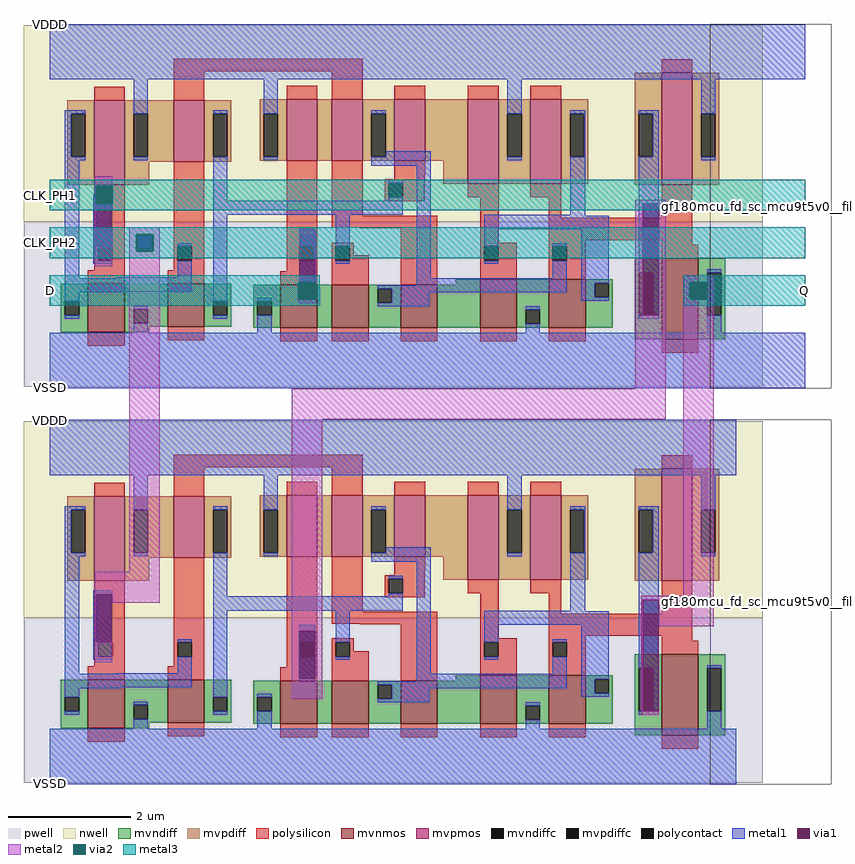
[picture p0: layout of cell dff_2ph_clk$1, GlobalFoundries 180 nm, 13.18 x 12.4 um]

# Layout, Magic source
magic
tech gf180mcuD
magscale 1 10
<< metal1 >>
rect -2240 -90 224 90
rect -2240 -1098 224 -918
<< via1 >>
rect -2089 -635 -2037 -479
rect -1427 -754 -1375 -598
rect -306 -860 -254 -496
rect -2089 -1927 -2037 -1771
rect -1427 -2046 -1375 -1890
rect -306 -2152 -254 -1788
<< metal2 >>
rect -2093 -440 -2037 -406
rect -2093 -496 -2091 -440
rect -330 -496 -230 -484
rect -2093 -635 -2089 -496
rect -2093 -701 -2037 -635
rect -1981 -596 -1881 -574
rect -1981 -652 -1959 -596
rect -1903 -652 -1881 -596
rect -1981 -1698 -1881 -652
rect -1427 -598 -1371 -585
rect -1375 -752 -1371 -598
rect -1373 -808 -1371 -752
rect -1427 -820 -1371 -808
rect -330 -860 -306 -496
rect -254 -860 -230 -496
rect -330 -1100 -230 -860
rect -2093 -1771 -1881 -1698
rect -2093 -1927 -2089 -1771
rect -2037 -1798 -1881 -1771
rect -1451 -1200 -230 -1100
rect -174 -752 -74 -730
rect -174 -808 -152 -752
rect -96 -808 -74 -752
rect -2093 -1993 -2037 -1927
rect -1451 -1890 -1351 -1200
rect -174 -1776 -74 -808
rect -1451 -2046 -1427 -1890
rect -1375 -2046 -1351 -1890
rect -1451 -2112 -1351 -2046
rect -310 -1788 -74 -1776
rect -310 -2152 -306 -1788
rect -254 -1876 -74 -1788
rect -310 -2164 -254 -2152
<< via2 >>
rect -2091 -479 -2035 -440
rect -2091 -496 -2089 -479
rect -2089 -496 -2037 -479
rect -2037 -496 -2035 -479
rect -1959 -652 -1903 -596
rect -1429 -754 -1427 -752
rect -1427 -754 -1375 -752
rect -1375 -754 -1373 -752
rect -1429 -808 -1373 -754
rect -152 -808 -96 -752
<< metal3 >>
rect -2241 -440 224 -418
rect -2241 -496 -2091 -440
rect -2035 -496 224 -440
rect -2241 -518 224 -496
rect -2241 -596 224 -574
rect -2241 -652 -1959 -596
rect -1903 -652 224 -596
rect -2241 -674 224 -652
rect -2241 -752 -1359 -730
rect -2241 -808 -1429 -752
rect -1373 -808 -1359 -752
rect -2241 -830 -1359 -808
rect -174 -752 224 -730
rect -174 -808 -152 -752
rect -96 -808 224 -752
rect -174 -830 224 -808
use gf180mcu_fd_sc_mcu9t5v0__filltie$1  gf180mcu_fd_sc_mcu9t5v0__filltie$1_0
transform 1 0 0 0 1 -2300
box -86 -90 310 1098
use gf180mcu_fd_sc_mcu9t5v0__filltie$1  gf180mcu_fd_sc_mcu9t5v0__filltie$1_1
transform 1 0 0 0 1 -1008
box -86 -90 310 1098
use gf180mcu_fd_sc_mcu9t5v0__latq_1  gf180mcu_fd_sc_mcu9t5v0__latq_1_0
transform 1 0 -2240 0 1 -2300
box -86 -90 2326 1098
use gf180mcu_fd_sc_mcu9t5v0__latq_1  gf180mcu_fd_sc_mcu9t5v0__latq_1_1
transform 1 0 -2240 0 1 -1008
box -86 -90 2326 1098
<< labels >>
flabel metal1 s -2237 -2389 -2237 -2389 2 FreeSans 73 0 0 0 VSSD
port 1 nsew
flabel metal1 s -2237 -1205 -2237 -1205 4 FreeSans 73 0 0 0 VDDD
port 2 nsew
flabel metal1 s -2238 -1096 -2238 -1096 2 FreeSans 73 0 0 0 VSSD
port 1 nsew
flabel metal1 s -2238 88 -2238 88 4 FreeSans 73 0 0 0 VDDD
port 2 nsew
flabel metal3 s 221 -780 221 -780 8 FreeSans 89 0 0 0 Q
port 3 nsew
flabel metal3 s -2239 -468 -2239 -468 2 FreeSans 89 0 0 0 CLK_PH1
port 4 nsew
flabel metal3 s -2239 -624 -2239 -624 2 FreeSans 89 0 0 0 CLK_PH2
port 5 nsew
flabel metal3 s -2239 -780 -2239 -780 2 FreeSans 89 0 0 0 D
port 6 nsew
<< properties >>
string path -11.205 -2.340 1.120 -2.340 
<< end >>

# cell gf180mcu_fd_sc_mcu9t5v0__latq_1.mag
magic
tech gf180mcuD
magscale 1 10
<< nwell >>
rect -86 453 2326 1094
<< pwell >>
rect -86 -86 2326 453
<< mvnmos >>
rect 124 92 244 250
rect 384 110 504 250
rect 752 107 872 247
rect 920 107 1040 247
rect 1144 107 1264 247
rect 1404 107 1524 265
rect 1628 107 1748 265
rect 1996 69 2116 333
<< mvpmos >>
rect 144 573 244 849
rect 404 649 504 849
rect 772 652 872 852
rect 920 652 1020 852
rect 1124 652 1224 852
rect 1364 576 1464 852
rect 1568 576 1668 852
rect 1996 573 2096 939
<< mvndiff >>
rect 36 193 124 250
rect 36 147 49 193
rect 95 147 124 193
rect 36 92 124 147
rect 244 168 384 250
rect 244 122 273 168
rect 319 122 384 168
rect 244 110 384 122
rect 504 193 592 250
rect 1908 287 1996 333
rect 1324 247 1404 265
rect 504 147 533 193
rect 579 147 592 193
rect 504 110 592 147
rect 664 193 752 247
rect 664 147 677 193
rect 723 147 752 193
rect 244 92 324 110
rect 664 107 752 147
rect 872 107 920 247
rect 1040 234 1144 247
rect 1040 188 1069 234
rect 1115 188 1144 234
rect 1040 107 1144 188
rect 1264 107 1404 247
rect 1524 166 1628 265
rect 1524 120 1553 166
rect 1599 120 1628 166
rect 1524 107 1628 120
rect 1748 252 1836 265
rect 1748 206 1777 252
rect 1823 206 1836 252
rect 1748 107 1836 206
rect 1908 147 1921 287
rect 1967 147 1996 287
rect 1908 69 1996 147
rect 2116 287 2204 333
rect 2116 147 2145 287
rect 2191 147 2204 287
rect 2116 69 2204 147
<< mvpdiff >>
rect 56 805 144 849
rect 56 665 69 805
rect 115 665 144 805
rect 56 573 144 665
rect 244 805 404 849
rect 244 665 273 805
rect 319 665 404 805
rect 244 649 404 665
rect 504 805 592 849
rect 504 665 533 805
rect 579 665 592 805
rect 504 649 592 665
rect 684 805 772 852
rect 684 665 697 805
rect 743 665 772 805
rect 684 652 772 665
rect 872 652 920 852
rect 1020 805 1124 852
rect 1020 665 1049 805
rect 1095 665 1124 805
rect 1020 652 1124 665
rect 1224 652 1364 852
rect 244 573 324 649
rect 1284 576 1364 652
rect 1464 805 1568 852
rect 1464 665 1493 805
rect 1539 665 1568 805
rect 1464 576 1568 665
rect 1668 805 1756 852
rect 1668 665 1697 805
rect 1743 665 1756 805
rect 1668 576 1756 665
rect 1908 805 1996 939
rect 1908 665 1921 805
rect 1967 665 1996 805
rect 1908 573 1996 665
rect 2096 805 2184 939
rect 2096 665 2125 805
rect 2171 665 2184 805
rect 2096 573 2184 665
<< mvndiffc >>
rect 49 147 95 193
rect 273 122 319 168
rect 533 147 579 193
rect 677 147 723 193
rect 1069 188 1115 234
rect 1553 120 1599 166
rect 1777 206 1823 252
rect 1921 147 1967 287
rect 2145 147 2191 287
<< mvpdiffc >>
rect 69 665 115 805
rect 273 665 319 805
rect 533 665 579 805
rect 697 665 743 805
rect 1049 665 1095 805
rect 1493 665 1539 805
rect 1697 665 1743 805
rect 1921 665 1967 805
rect 2125 665 2171 805
<< polysilicon >>
rect 404 944 1020 984
rect 144 849 244 893
rect 404 849 504 944
rect 772 852 872 896
rect 920 852 1020 944
rect 1996 939 2096 983
rect 1124 852 1224 896
rect 1364 852 1464 896
rect 1568 852 1668 896
rect 144 372 244 573
rect 144 326 157 372
rect 203 326 244 372
rect 144 294 244 326
rect 404 372 504 649
rect 404 326 417 372
rect 463 326 504 372
rect 404 294 504 326
rect 124 250 244 294
rect 384 250 504 294
rect 772 372 872 652
rect 920 472 1020 652
rect 1124 608 1224 652
rect 1124 592 1223 608
rect 1092 579 1223 592
rect 1092 533 1105 579
rect 1151 533 1223 579
rect 1092 520 1223 533
rect 1364 532 1464 576
rect 1568 532 1668 576
rect 920 433 1264 472
rect 1011 432 1264 433
rect 772 326 813 372
rect 859 326 872 372
rect 772 291 872 326
rect 752 247 872 291
rect 920 372 992 385
rect 920 326 933 372
rect 979 343 992 372
rect 979 326 1040 343
rect 920 247 1040 326
rect 1144 247 1264 432
rect 1404 385 1464 532
rect 1628 465 1668 532
rect 1996 465 2096 573
rect 1628 393 2096 465
rect 1404 372 1524 385
rect 1404 326 1417 372
rect 1463 326 1524 372
rect 1404 265 1524 326
rect 1628 372 1748 393
rect 1628 326 1641 372
rect 1687 326 1748 372
rect 1996 377 2096 393
rect 1996 333 2116 377
rect 1628 265 1748 326
rect 124 48 244 92
rect 384 66 504 110
rect 752 63 872 107
rect 920 63 1040 107
rect 1144 63 1264 107
rect 1404 63 1524 107
rect 1628 63 1748 107
rect 1996 25 2116 69
<< polycontact >>
rect 157 326 203 372
rect 417 326 463 372
rect 1105 533 1151 579
rect 813 326 859 372
rect 933 326 979 372
rect 1417 326 1463 372
rect 1641 326 1687 372
<< metal1 >>
rect 0 918 2240 1098
rect 49 805 115 816
rect 49 665 69 805
rect 49 654 115 665
rect 273 805 319 918
rect 273 654 319 665
rect 533 805 579 816
rect 49 269 95 654
rect 142 372 203 542
rect 533 522 579 665
rect 697 805 743 918
rect 697 654 743 665
rect 1049 805 1095 816
rect 1493 805 1539 918
rect 1095 665 1243 682
rect 1049 636 1243 665
rect 1493 654 1539 665
rect 1697 805 1747 816
rect 1743 665 1747 805
rect 1105 579 1151 590
rect 1105 522 1151 533
rect 533 476 1151 522
rect 142 326 157 372
rect 142 315 203 326
rect 417 372 463 383
rect 417 271 463 326
rect 217 269 463 271
rect 49 225 463 269
rect 49 223 231 225
rect 49 193 95 223
rect 533 193 579 476
rect 813 372 866 430
rect 859 326 866 372
rect 813 242 866 326
rect 933 372 979 476
rect 933 315 979 326
rect 1197 269 1243 636
rect 1697 475 1747 665
rect 1417 473 1747 475
rect 1921 805 1986 816
rect 1967 665 1986 805
rect 1417 429 1823 473
rect 1417 372 1463 429
rect 1417 315 1463 326
rect 1641 372 1687 383
rect 1641 269 1687 326
rect 1197 245 1687 269
rect 1069 234 1687 245
rect 49 136 95 147
rect 273 168 319 179
rect 533 136 579 147
rect 677 193 723 204
rect 1115 223 1687 234
rect 1733 252 1823 429
rect 1115 188 1238 223
rect 1733 206 1777 252
rect 1733 195 1823 206
rect 1921 287 1986 665
rect 2125 805 2171 918
rect 2125 654 2171 665
rect 1069 177 1238 188
rect 273 90 319 122
rect 677 90 723 147
rect 1553 166 1599 177
rect 1967 147 1986 287
rect 1921 136 1986 147
rect 2145 287 2191 298
rect 1553 90 1599 120
rect 2145 90 2191 147
rect 0 -90 2240 90
<< labels >>
flabel metal1 s 840 280 840 280 0 FreeSans 200 0 0 0 D
port 1 nsew
flabel metal1 s 168 392 168 392 0 FreeSans 200 0 0 0 E
port 2 nsew
flabel metal1 s 1960 504 1960 504 0 FreeSans 200 0 0 0 Q
port 3 nsew
flabel metal1 s 1120 1098 1120 1098 0 FreeSans 200 0 0 0 VDD
port 4 nsew
flabel metal1 s 1120 -90 1120 -90 0 FreeSans 200 0 0 0 VSS
port 5 nsew
flabel nwell s 69 784 69 784 0 FreeSans 400 0 0 0 VNW
port 6 nsew
flabel pwell s 68 -17 68 -17 0 FreeSans 400 0 0 0 VPW
port 7 nsew
<< properties >>
string FIXED_BBOX 0 0 2240 1008
<< end >>
